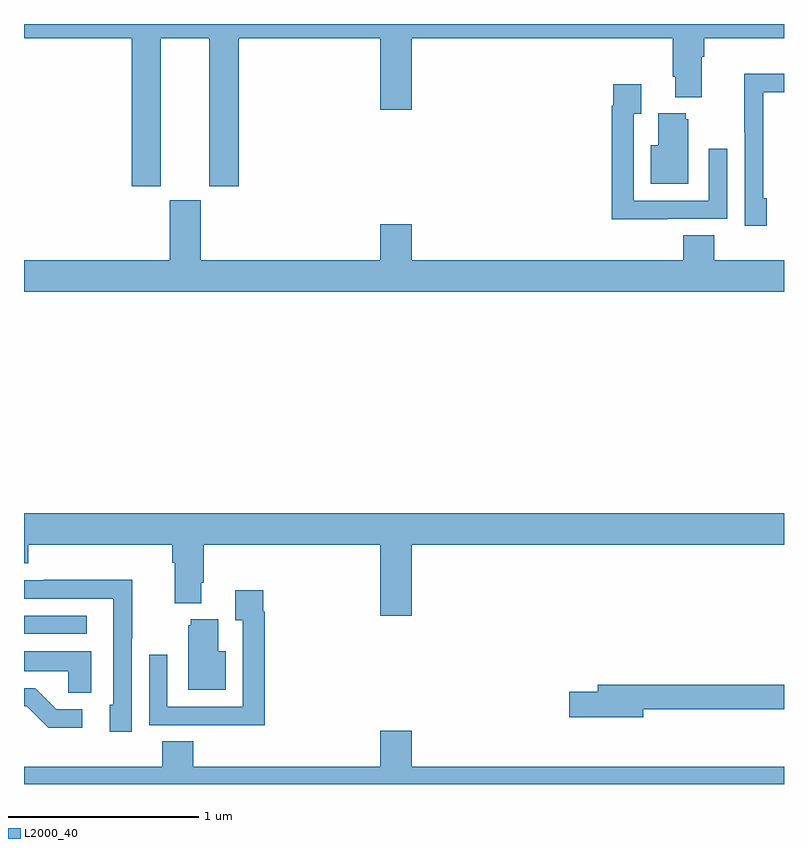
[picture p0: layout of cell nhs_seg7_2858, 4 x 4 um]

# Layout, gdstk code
import gdstk
lib = gdstk.Library(unit=1e-6, precision=1e-09)
def R(c, l, rs):  # rectangles x0, y0, x1, y1
    for r in rs: c.add(gdstk.rectangle(r[:2], r[2:], *l))
def P(c, l, *ps):  # polygons
    for p in ps: c.add(gdstk.Polygon(p, *l))
L2000_40 = (2000, 40)

nhs_seg7_2858 = lib.new_cell('nhs_seg7_2858')
R(nhs_seg7_2858, L2000_40, [(295,1022.79,295.33,1022.886)])
P(nhs_seg7_2858, L2000_40, [(295.72,1025.924),(295.976,1025.924),(295.976,1025.145),(296.129,1025.145),(296.129,1025.924),(296.876,1025.924),(296.876,1025.55),(297.04,1025.55),(297.04,1025.924),(298.415,1025.924),(298.415,1025.722),(298.427,1025.722),(298.427,1025.615),(298.567,1025.615),(298.567,1025.828),(298.58,1025.828),(298.58,1025.924),(299,1025.924),(299,1026),(295,1026),(295,1025.924),(295.568,1025.924),(295.568,1025.145),(295.72,1025.145)],
  [(298.909,1025.082),(298.89,1025.082),(298.89,1025.64),(299,1025.64),(299,1025.738),(298.792,1025.738),(298.792,1025.431),(298.794,1025.431),(298.794,1024.938),(298.909,1024.938)],
  [(298.385,1024.974),(298.701,1024.974),(298.701,1025.344),(298.605,1025.344),(298.605,1025.07),(298.209,1025.07),(298.209,1025.527),(298.249,1025.527),(298.249,1025.683),(298.101,1025.683),(298.101,1025.57),(298.093,1025.57),(298.093,1024.973),(298.385,1024.973)],
  [(298.495,1025.499),(298.484,1025.499),(298.484,1025.53),(298.337,1025.53),(298.337,1025.362),(298.298,1025.362),(298.298,1025.159),(298.495,1025.159)],
  [(299,1024.756),(298.634,1024.756),(298.634,1024.889),(298.469,1024.889),(298.469,1024.756),(297.04,1024.756),(297.04,1024.945),(296.876,1024.945),(296.876,1024.756),(295.93,1024.756),(295.93,1025.073),(295.766,1025.073),(295.766,1024.756),(295,1024.756),(295,1024.592),(299,1024.592)],
  [(297.04,1023.26),(299,1023.26),(299,1023.424),(295,1023.424),(295,1023.161),(295.022,1023.161),(295.022,1023.26),(295.781,1023.26),(295.781,1023.164),(295.793,1023.164),(295.793,1022.951),(295.933,1022.951),(295.933,1023.058),(295.946,1023.058),(295.946,1023.26),(296.876,1023.26),(296.876,1022.886),(297.04,1022.886)],
  [(295.566,1022.767),(295.569,1022.767),(295.569,1023.074),(295.105,1023.074),(295.105,1023.072),(295,1023.072),(295,1022.976),(295.47,1022.976),(295.47,1022.418),(295.451,1022.418),(295.451,1022.274),(295.566,1022.274)],
  [(296.267,1022.906),(296.26,1022.906),(296.26,1023.019),(296.111,1023.019),(296.111,1022.863),(296.151,1022.863),(296.151,1022.406),(295.755,1022.406),(295.755,1022.68),(295.659,1022.68),(295.659,1022.31),(295.975,1022.31),(295.975,1022.309),(296.267,1022.309)],
  [(296.062,1022.698),(296.023,1022.698),(296.023,1022.866),(295.877,1022.866),(295.877,1022.835),(295.865,1022.835),(295.865,1022.495),(296.062,1022.495)],
  [(295.354,1022.698),(295,1022.698),(295,1022.594),(295.233,1022.594),(295.233,1022.479),(295.354,1022.479)],
  [(298.258,1022.394),(299,1022.394),(299,1022.522),(298.019,1022.522),(298.019,1022.486),(297.87,1022.486),(297.87,1022.351),(298.258,1022.351)],
  [(295.306,1022.394),(295.171,1022.394),(295.06,1022.505),(295,1022.505),(295,1022.409),(295.014,1022.409),(295.127,1022.297),(295.306,1022.297)],
  [(299,1022.092),(297.04,1022.092),(297.04,1022.281),(296.876,1022.281),(296.876,1022.092),(295.892,1022.092),(295.892,1022.225),(295.727,1022.225),(295.727,1022.092),(295,1022.092),(295,1022),(299,1022)])

lib.write_gds('nhs_seg7_2858.gds')
